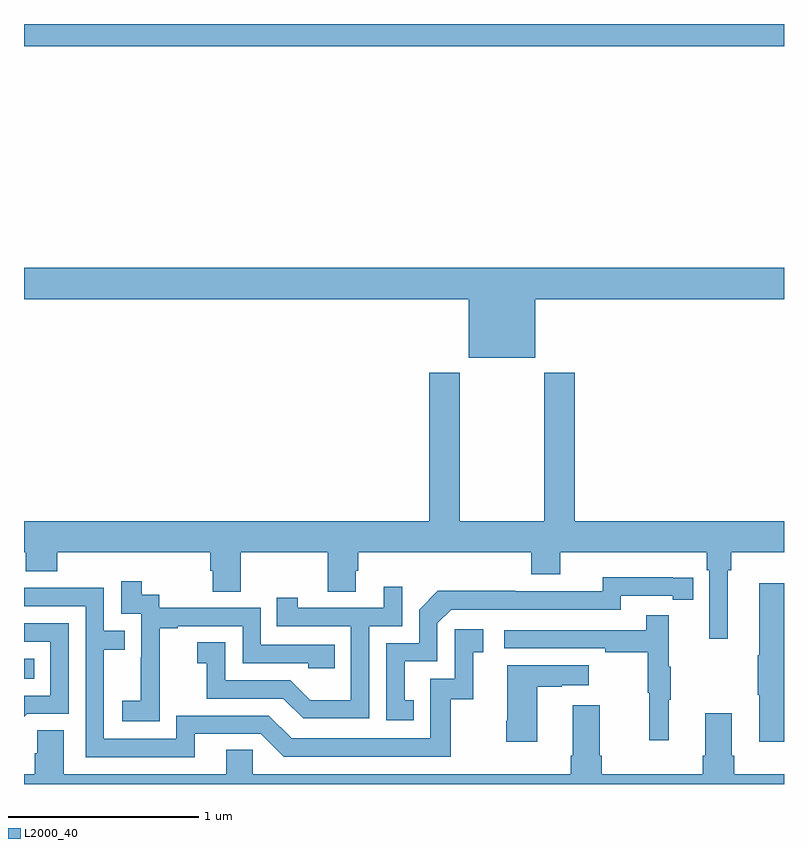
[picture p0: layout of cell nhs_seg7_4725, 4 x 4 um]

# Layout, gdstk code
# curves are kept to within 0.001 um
import gdstk
lib = gdstk.Library(unit=1e-6, precision=1e-09)
def R(c, l, rs):  # rectangles x0, y0, x1, y1
    for r in rs: c.add(gdstk.rectangle(r[:2], r[2:], *l))
def P(c, l, *ps):  # polygons
    for p in ps: c.add(gdstk.Polygon(p, *l))
L2000_40 = (2000, 40)

nhs_seg7_4725 = lib.new_cell('nhs_seg7_4725')
R(nhs_seg7_4725, L2000_40, [(407,1062.554,407.054,1062.658), (407,1065.884,411,1066)])
P(nhs_seg7_4725, L2000_40, [(409.69,1064.552),(411,1064.552),(411,1064.716),(407,1064.716),(407,1064.552),(409.34,1064.552),(409.34,1064.243),(409.69,1064.243)],
  [(409.67,1063.103),(409.822,1063.103),(409.822,1063.22),(410.594,1063.22),(410.594,1063.124),(410.607,1063.124),(410.607,1062.765),(410.704,1062.765),(410.704,1063.124),(410.723,1063.124),(410.723,1063.22),(411,1063.22),(411,1063.384),(409.898,1063.384),(409.898,1064.164),(409.738,1064.164),(409.738,1063.384),(409.293,1063.384),(409.293,1064.164),(409.133,1064.164),(409.133,1063.384),(407,1063.384),(407,1063.22),(407.009,1063.22),(407.009,1063.121),(407.174,1063.121),(407.174,1063.22),(407.981,1063.22),(407.981,1063.122),(407.993,1063.122),(407.993,1063.012),(408.141,1063.012),(408.141,1063.22),(408.598,1063.22),(408.598,1063.012),(408.745,1063.012),(408.745,1063.122),(408.758,1063.122),(408.758,1063.22),(409.67,1063.22)],
  [(409.052,1062.441),(409.003,1062.441),(409.003,1062.645),(409.176,1062.645),(409.176,1062.846),(409.248,1062.918),(410.142,1062.918),(410.142,1062.99),(410.414,1062.99),(410.414,1062.97),(410.522,1062.97),(410.522,1063.086),(410.046,1063.087),(410.046,1063.014),(409.586,1063.014),(409.586,1063.016),(409.178,1063.016),(409.08,1062.918),(409.08,1062.741),(408.906,1062.741),(408.906,1062.336),(409.052,1062.336)],
  [(407.715,1062.535),(407.714,1062.535),(407.714,1062.819),(407.809,1062.819),(407.809,1062.831),(408.15,1062.831),(408.15,1062.636),(408.495,1062.636),(408.495,1062.609),(408.635,1062.609),(408.635,1062.732),(408.246,1062.732),(408.246,1062.927),(407.712,1062.927),(407.712,1062.996),(407.62,1062.996),(407.62,1063.066),(407.511,1063.066),(407.511,1062.897),(407.616,1062.897),(407.616,1062.668),(407.615,1062.668),(407.615,1062.439),(407.517,1062.439),(407.517,1062.329),(407.715,1062.329)],
  [(411,1063.057),(410.87,1063.057),(410.87,1062.677),(410.863,1062.677),(410.863,1062.471),(410.87,1062.471),(410.87,1062.222),(411,1062.222)],
  [(408.816,1062.831),(408.99,1062.831),(408.99,1063.039),(408.893,1063.039),(408.893,1062.927),(408.442,1062.927),(408.442,1062.979),(408.331,1062.979),(408.331,1062.831),(408.72,1062.831),(408.72,1062.442),(408.506,1062.442),(408.402,1062.546),(408.06,1062.546),(408.06,1062.745),(407.913,1062.745),(407.913,1062.635),(407.962,1062.635),(407.962,1062.45),(408.365,1062.45),(408.47,1062.345),(408.816,1062.345)],
  [(407.899,1062.264),(408.246,1062.264),(408.366,1062.144),(409.246,1062.144),(409.246,1062.447),(409.364,1062.447),(409.364,1062.693),(409.417,1062.693),(409.417,1062.814),(409.266,1062.814),(409.266,1062.555),(409.137,1062.555),(409.137,1062.24),(408.408,1062.24),(408.288,1062.36),(407.802,1062.36),(407.802,1062.237),(407.421,1062.237),(407.421,1062.706),(407.531,1062.706),(407.531,1062.807),(407.421,1062.807),(407.421,1063.032),(407,1063.032),(407,1062.936),(407.325,1062.936),(407.325,1062.141),(407.899,1062.141)],
  [(410.393,1062.443),(410.404,1062.443),(410.404,1062.617),(410.393,1062.617),(410.393,1062.889),(410.275,1062.889),(410.275,1062.81),(409.527,1062.81),(409.527,1062.714),(410.059,1062.714),(410.059,1062.694),(410.283,1062.694),(410.283,1062.48),(410.29,1062.48),(410.29,1062.231),(410.393,1062.231)],
  [(407.016,1062.369),(407.235,1062.369),(407.235,1062.846),(407,1062.846),(407,1062.75),(407.139,1062.75),(407.139,1062.465),(407,1062.465),(407,1062.353)],
  [(409.702,1062.511),(409.829,1062.511),(409.829,1062.521),(409.972,1062.521),(409.972,1062.625),(409.544,1062.625),(409.544,1062.334),(409.537,1062.334),(409.537,1062.222),(409.702,1062.222)],
  [(411,1062.052),(410.738,1062.052),(410.738,1062.148),(410.725,1062.148),(410.725,1062.373),(410.585,1062.373),(410.585,1062.148),(410.573,1062.148),(410.573,1062.052),(410.042,1062.052),(410.042,1062.148),(410.029,1062.148),(410.029,1062.415),(409.889,1062.415),(409.889,1062.148),(409.877,1062.148),(409.877,1062.052),(408.204,1062.052),(408.204,1062.179),(408.065,1062.179),(408.065,1062.052),(407.209,1062.052),(407.209,1062.284),(407.07,1062.284),(407.07,1062.161),(407.057,1062.161),(407.057,1062.052),(407,1062.052),(407,1062),(411,1062)])

lib.write_gds('nhs_seg7_4725.gds')
